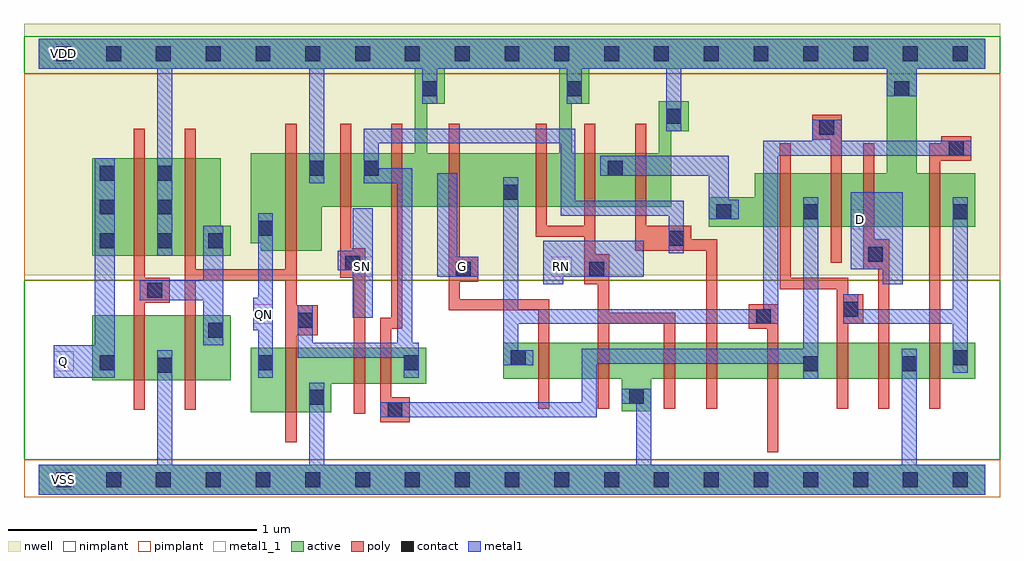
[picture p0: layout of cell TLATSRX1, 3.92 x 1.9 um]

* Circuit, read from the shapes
.subckt TLATSRX1 D G Q QN RN SN VDD VSS
M1 VSS n1 Q VSS nfet w=0.26u l=0.045u
M2 n1 n2 VSS VSS nfet w=0.26u l=0.045u
M3 VSS n2 QN VSS nfet w=0.26u l=0.045u
M4 n3 SN VSS VSS nfet w=0.145u l=0.045u
M5 n2 n4 n3 VSS nfet w=0.145u l=0.045u
M6 n5 G n6 VSS nfet w=0.145u l=0.045u
M7 VSS RN n5 VSS nfet w=0.145u l=0.045u
M8 n7 RN VSS VSS nfet w=0.145u l=0.045u
M9 n8 n2 n7 VSS nfet w=0.145u l=0.045u
M10 n4 n6 n8 VSS nfet w=0.145u l=0.045u
M11 n9 n10 n4 VSS nfet w=0.145u l=0.045u
M12 VSS D n9 VSS nfet w=0.145u l=0.045u
M13 n10 n6 VSS VSS nfet w=0.145u l=0.045u
M14 VDD n1 Q VDD pfet w=0.39u l=0.045u
M15 n1 n2 VDD VDD pfet w=0.39u l=0.045u
M16 VDD n2 QN VDD pfet w=0.39u l=0.045u
M17 n2 SN VDD VDD pfet w=0.215u l=0.045u
M18 VDD n4 n2 VDD pfet w=0.215u l=0.045u
M19 n6 G VDD VDD pfet w=0.215u l=0.045u
M20 VDD RN n6 VDD pfet w=0.215u l=0.045u
M21 n11 RN VDD VDD pfet w=0.215u l=0.045u
M22 VDD n2 n11 VDD pfet w=0.215u l=0.045u
M23 n4 n10 n11 VDD pfet w=0.215u l=0.045u
M24 n12 n6 n4 VDD pfet w=0.215u l=0.045u
M25 VDD D n12 VDD pfet w=0.215u l=0.045u
M26 n10 n6 VDD VDD pfet w=0.215u l=0.045u
.ends

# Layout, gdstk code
import gdstk
lib = gdstk.Library(unit=1e-6, precision=5e-10)
def R(c, l, rs):  # rectangles x0, y0, x1, y1
    for r in rs: c.add(gdstk.rectangle(r[:2], r[2:], *l))
def A(c, l, x, y, w, h, nx, ny, dx, dy):  # array of equal rectangles
    R(c, l, [(x+i*dx, y+j*dy, x+i*dx+w, y+j*dy+h) for i in range(nx) for j in range(ny)])
def P(c, l, *ps):  # polygons
    for p in ps: c.add(gdstk.Polygon(p, *l))
active = (1, 0)
nwell = (2, 0)
poly = (3, 0)
nimplant = (4, 0)
pimplant = (5, 0)
contact = (6, 0)
metal1 = (7, 0)
metal1_1 = (7, 1)

tlatsrx1 = lib.new_cell('TLATSRX1')
R(tlatsrx1, active, [(0,-0.06,3.8,0.06), (0.215,0.4,0.77,0.66)])
P(tlatsrx1, active, [(0,1.77),(3.8,1.77),(3.8,1.65),(3.525,1.65),(3.525,1.23),(3.76,1.23),(3.76,1.015),(2.69,1.015),(2.69,1.135),(2.875,1.135),(2.875,1.23),(3.405,1.23),(3.405,1.65),(2.21,1.65),(2.21,1.51),(2.14,1.51),(2.14,1.31),(2.49,1.31),(2.49,1.52),(2.61,1.52),(2.61,1.4),(2.54,1.4),(2.54,1.095),(1.135,1.095),(1.135,0.92),(0.89,0.92),(0.89,0.95),(0.85,0.95),(0.85,1.31),(1.51,1.31),(1.51,1.65),(1.63,1.65),(1.63,1.51),(1.56,1.51),(1.56,1.31),(2.09,1.31),(2.09,1.65),(0,1.65)],
  [(0.215,1.29),(0.73,1.29),(0.73,1.02),(0.77,1.02),(0.77,0.9),(0.215,0.9)],
  [(0.85,0.53),(1.555,0.53),(1.555,0.385),(1.175,0.385),(1.175,0.27),(0.85,0.27)],
  [(1.865,0.55),(3.76,0.55),(3.76,0.405),(2.46,0.405),(2.46,0.275),(2.34,0.275),(2.34,0.405),(1.865,0.405)])
R(tlatsrx1, nwell, [(-0.06,0.82,3.86,1.83)])
P(tlatsrx1, poly, [(0.585,1.41),(0.63,1.41),(0.63,0.845),(0.99,0.845),(0.99,1.43),(1.035,1.43),(1.035,0.7),(1.12,0.7),(1.12,0.58),(1.035,0.58),(1.035,0.15),(0.99,0.15),(0.99,0.8),(0.63,0.8),(0.63,0.28),(0.585,0.28)],
  [(0.38,1.41),(0.425,1.41),(0.425,0.81),(0.525,0.81),(0.525,0.71),(0.425,0.71),(0.425,0.28),(0.38,0.28)],
  [(1.21,1.43),(1.255,1.43),(1.255,0.93),(1.31,0.93),(1.31,0.265),(1.265,0.265),(1.265,0.81),(1.21,0.81)],
  [(1.415,1.43),(1.46,1.43),(1.46,0.605),(1.415,0.605),(1.415,0.33),(1.49,0.33),(1.49,0.23),(1.37,0.23),(1.37,0.65),(1.415,0.65)],
  [(1.645,1.43),(1.69,1.43),(1.69,0.895),(1.765,0.895),(1.765,0.795),(1.69,0.795),(1.69,0.725),(2.05,0.725),(2.05,0.285),(2.005,0.285),(2.005,0.68),(1.645,0.68)],
  [(1.995,1.43),(2.04,1.43),(2.04,1.02),(2.19,1.02),(2.19,1.43),(2.235,1.43),(2.235,0.905),(2.29,0.905),(2.29,0.67),(2.555,0.67),(2.555,0.285),(2.51,0.285),(2.51,0.625),(2.29,0.625),(2.29,0.285),(2.245,0.285),(2.245,0.785),(2.19,0.785),(2.19,0.975),(1.995,0.975)],
  [(2.395,1.43),(2.44,1.43),(2.44,1.02),(2.62,1.02),(2.62,0.965),(2.725,0.965),(2.725,0.285),(2.68,0.285),(2.68,0.92),(2.395,0.92)],
  [(3.105,1.465),(3.225,1.465),(3.225,0.87),(3.18,0.87),(3.18,1.365),(3.105,1.365)],
  [(2.975,1.35),(3.02,1.35),(3.02,0.81),(3.25,0.81),(3.25,0.745),(3.31,0.745),(3.31,0.625),(3.25,0.625),(3.25,0.285),(3.205,0.285),(3.205,0.765),(2.975,0.765)],
  [(3.31,1.35),(3.355,1.35),(3.355,0.965),(3.415,0.965),(3.415,0.285),(3.37,0.285),(3.37,0.845),(3.31,0.845)],
  [(3.625,1.38),(3.745,1.38),(3.745,1.28),(3.62,1.28),(3.62,0.285),(3.575,0.285),(3.575,1.35),(3.625,1.35)],
  [(2.85,0.705),(2.97,0.705),(2.97,0.11),(2.925,0.11),(2.925,0.605),(2.85,0.605)])
R(tlatsrx1, nimplant, [(-0.06,0.08,3.86,0.8), (-0.06,1.63,3.86,1.78)])
R(tlatsrx1, pimplant, [(-0.06,-0.07,3.86,0.08), (-0.06,0.8,3.86,1.63)])
A(tlatsrx1, contact, 0.07, -0.03, 0.06, 0.06, 19, 2, 0.2, 1.71)
A(tlatsrx1, contact, 0.245, 0.93, 0.06, 0.06, 1, 3, 0, 0.135)
A(tlatsrx1, contact, 0.475, 0.93, 0.06, 0.06, 1, 3, 0, 0.135)
R(tlatsrx1, contact, [(1.4,0.25,1.46,0.31), (1.085,0.3,1.145,0.36), (2.37,0.305,2.43,0.365), (0.475,0.43,0.535,0.49), (3.07,0.435,3.13,0.495), (3.465,0.435,3.525,0.495), (0.245,0.44,0.305,0.5), (0.88,0.44,0.94,0.5), (1.465,0.44,1.525,0.5), (1.895,0.46,1.955,0.52), (3.67,0.46,3.73,0.52), (0.68,0.57,0.74,0.63), (1.04,0.61,1.1,0.67), (2.88,0.625,2.94,0.685), (3.23,0.655,3.29,0.715), (0.435,0.73,0.495,0.79), (1.675,0.815,1.735,0.875), (2.21,0.815,2.27,0.875), (1.23,0.84,1.29,0.9), (3.33,0.875,3.39,0.935), (0.68,0.93,0.74,0.99), (2.53,0.94,2.59,1), (0.88,0.98,0.94,1.04), (2.72,1.045,2.78,1.105), (3.07,1.045,3.13,1.105), (3.67,1.045,3.73,1.105), (1.865,1.125,1.925,1.185), (1.085,1.22,1.145,1.28), (1.305,1.22,1.365,1.28), (2.285,1.22,2.345,1.28), (3.655,1.3,3.715,1.36), (3.135,1.385,3.195,1.445), (2.52,1.43,2.58,1.49), (1.54,1.54,1.6,1.6), (2.12,1.54,2.18,1.6), (3.435,1.54,3.495,1.6)])
P(tlatsrx1, metal1, [(0,1.77),(3.8,1.77),(3.8,1.65),(3.525,1.65),(3.525,1.54),(3.405,1.54),(3.405,1.65),(2.58,1.65),(2.58,1.4),(2.52,1.4),(2.52,1.65),(2.18,1.65),(2.18,1.51),(2.12,1.51),(2.12,1.65),(1.6,1.65),(1.6,1.51),(1.54,1.51),(1.54,1.65),(1.145,1.65),(1.145,1.19),(1.085,1.19),(1.085,1.65),(0.535,1.65),(0.535,0.9),(0.475,0.9),(0.475,1.65),(0,1.65)],
  [(0.225,1.29),(0.305,1.29),(0.305,0.41),(0.06,0.41),(0.06,0.54),(0.225,0.54)],
  [(0.88,1.07),(0.94,1.07),(0.94,0.41),(0.88,0.41),(0.88,0.6),(0.86,0.6),(0.86,0.73),(0.88,0.73)],
  [(0.66,1.02),(0.74,1.02),(0.74,0.54),(0.66,0.54),(0.66,0.72),(0.405,0.72),(0.405,0.8),(0.66,0.8)],
  [(3.105,1.445),(3.225,1.445),(3.225,1.36),(3.745,1.36),(3.745,1.3),(2.97,1.3),(2.97,0.625),(1.925,0.625),(1.925,0.52),(1.985,0.52),(1.985,0.46),(1.865,0.46),(1.865,1.215),(1.925,1.215),(1.925,0.685),(2.91,0.685),(2.91,1.36),(3.105,1.36)],
  [(1.305,1.41),(2.155,1.41),(2.155,1.12),(2.59,1.12),(2.59,0.91),(2.53,0.91),(2.53,1.06),(2.095,1.06),(2.095,1.35),(1.365,1.35),(1.365,1.25),(1.5,1.25),(1.5,0.55),(1.525,0.55),(1.525,0.41),(1.465,0.41),(1.465,0.49),(1.04,0.49),(1.04,0.7),(1.1,0.7),(1.1,0.55),(1.44,0.55),(1.44,1.19),(1.305,1.19)],
  [(1.26,1.09),(1.34,1.09),(1.34,0.65),(1.26,0.65),(1.26,0.84),(1.2,0.84),(1.2,0.92),(1.26,0.92)],
  [(1.6,1.23),(1.68,1.23),(1.68,0.895),(1.765,0.895),(1.765,0.815),(1.6,0.815)],
  [(0.475,0.52),(0.535,0.52),(0.535,0.06),(1.085,0.06),(1.085,0.39),(1.145,0.39),(1.145,0.06),(2.4,0.06),(2.4,0.305),(2.34,0.305),(2.34,0.365),(2.46,0.365),(2.46,0.06),(3.465,0.06),(3.465,0.525),(3.525,0.525),(3.525,0.06),(3.8,0.06),(3.8,-0.06),(0,-0.06),(0,0.06),(0.475,0.06)],
  [(2.255,1.3),(2.77,1.3),(2.77,1.125),(2.81,1.125),(2.81,1.045),(2.69,1.045),(2.69,1.22),(2.255,1.22)],
  [(2.025,0.96),(2.43,0.96),(2.43,0.815),(2.105,0.815),(2.105,0.785),(2.025,0.785)],
  [(3.07,1.135),(3.13,1.135),(3.13,0.405),(3.07,0.405),(3.07,0.465),(2.24,0.465),(2.24,0.25),(1.37,0.25),(1.37,0.31),(2.18,0.31),(2.18,0.525),(3.07,0.525)],
  [(3.23,0.745),(3.29,0.745),(3.29,0.685),(3.67,0.685),(3.67,1.135),(3.73,1.135),(3.73,0.43),(3.67,0.43),(3.67,0.625),(3.23,0.625)],
  [(3.26,1.155),(3.47,1.155),(3.47,0.785),(3.39,0.785),(3.39,0.845),(3.26,0.845)])
A(tlatsrx1, metal1_1, 1.26, 0.815, 0.08, 0.08, 3, 1, 0.4, 0)
R(tlatsrx1, metal1_1, [(0.06,-0.04,0.14,0.04), (0.06,0.435,0.14,0.515), (0.86,0.625,0.94,0.705), (3.26,1.005,3.34,1.085), (0.06,1.67,0.14,1.75)])
tlatsrx1.add(gdstk.Label('QN', (0.9,0.665), layer=7, texttype=1))
tlatsrx1.add(gdstk.Label('Q', (0.1,0.475), layer=7, texttype=1))
tlatsrx1.add(gdstk.Label('D', (3.3,1.045), layer=7, texttype=1))
tlatsrx1.add(gdstk.Label('RN', (2.1,0.855), layer=7, texttype=1))
tlatsrx1.add(gdstk.Label('G', (1.7,0.855), layer=7, texttype=1))
tlatsrx1.add(gdstk.Label('SN', (1.3,0.855), layer=7, texttype=1))
tlatsrx1.add(gdstk.Label('VDD', (0.1,1.71), layer=7, texttype=1))
tlatsrx1.add(gdstk.Label('VSS', (0.1,0), layer=7, texttype=1))
tlatsrx1.add(gdstk.Label('TLATSRX1', (0,0), layer=63, texttype=0))

lib.write_gds('TLATSRX1.gds')
